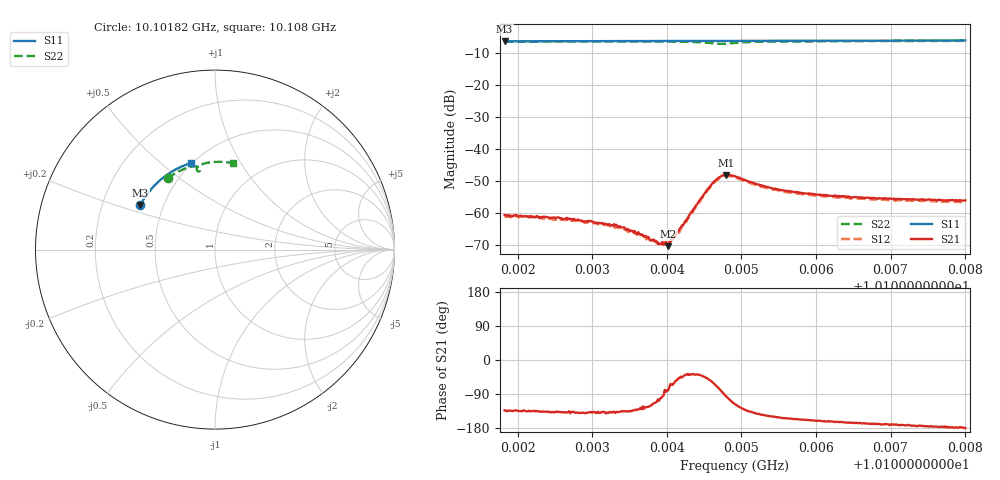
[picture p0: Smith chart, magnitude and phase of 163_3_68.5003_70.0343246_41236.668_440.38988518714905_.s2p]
#  HZ  S  RI  R  50.00
! Rohde & Schwarz Vector Network Analyzer
! Rohde-Schwarz,ZNB20-2Port,1311601062101988,3.16
! Created: UTC 3/20/2024, 4:55:53 PM
! freq[Hz]  re:S11  im:S11  re:S21  im:S21  re:S12  im:S12  re:S22  im:S22
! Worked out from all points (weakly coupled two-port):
!   401 points, 10.10182 GHz to 10.108 GHz, reference 50 ohm
!   highest |S21| = -48.11 dB at 10.10479 GHz (marker M1); lowest = -70.4 dB at 10.10402 GHz (marker M2)
!   lowest |S11| = -6.3 dB at 10.10182 GHz (marker M3), VSWR 2.88, Z = 18.5 + j12.1 ohm
!   |S11| at or under -10 dB: nowhere
!   |S22| runs from -7.0 to -6.2 dB; largest |S21 - S12| = 0.00039
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1.0101825e10  -0.4158 0.2491  -0.000629 -0.000669  -0.000542 -0.000683  -0.2641 0.3973
1.010218e10  -0.4051 0.268  -0.000625 -0.000631  -0.000585 -0.000636  -0.2451 0.4106
1.0102551e10  -0.3933 0.2873  -0.000615 -0.000585  -0.00055 -0.000594  -0.2244 0.4234
1.010286e10  -0.3827 0.3026  -0.000576 -0.000493  -0.000486 -0.000523  -0.2065 0.4333
1.0103122e10  -0.3732 0.3154  -0.000503 -0.000461  -0.000482 -0.000481  -0.1909 0.4412
1.01034e10  -0.3626 0.3287  -0.000413 -0.00042  -0.000385 -0.000409  -0.1734 0.4488
1.0103725e10  -0.3498 0.3436  -0.00024 -0.000354  -0.000192 -0.000332  -0.152 0.4566
1.0103895e10  -0.3426 0.3514  -0.000102 -0.000317  -5.15e-05 -0.000321  -0.1399 0.4601
1.0103987e10  -0.339 0.3553  3.61e-05 -0.000352  5.96e-05 -0.00033  -0.1332 0.4617
1.0104018e10  -0.3377 0.3568  5.14e-05 -0.000296  9.89e-05 -0.00031  -0.1307 0.4621
1.0104049e10  -0.3363 0.3581  0.000156 -0.000309  0.000148 -0.000334  -0.1282 0.4625
1.0104157e10  -0.3318 0.3628  0.000353 -0.000386  0.000333 -0.000354  -0.1194 0.4637
1.0104497e10  -0.3168 0.3769  0.0014 -0.00136  0.00144 -0.0012  -0.0888 0.4566
1.0104605e10  -0.3117 0.3812  0.00153 -0.00239  0.00167 -0.00214  -0.083 0.4462
1.0104713e10  -0.307 0.3854  0.000743 -0.00359  0.00102 -0.00339  -0.0875 0.436
1.0104791e10  -0.3035 0.3885  -0.000359 -0.00391  8.02e-06 -0.00378  -0.0955 0.4357
1.0104914e10  -0.298 0.3933  -0.00169 -0.00333  -0.00132 -0.00333  -0.1017 0.4466
1.0105393e10  -0.2749 0.4112  -0.0021 -0.00128  -0.00189 -0.0014  -0.0721 0.4757
1.0105949e10  -0.2471 0.4303  -0.00187 -0.000701  -0.0017 -0.000818  -0.0328 0.4851
1.010649e10  -0.2188 0.4465  -0.00168 -0.000433  -0.00159 -0.000594  0.00369 0.4886
1.0106984e10  -0.1921 0.4599  -0.00167 -0.000242  -0.00153 -0.000407  0.0363 0.4888
1.0108004e10  -0.1345 0.4819  -0.00156 -4.03e-06  -0.00148 -0.000192  0.1017 0.4818
